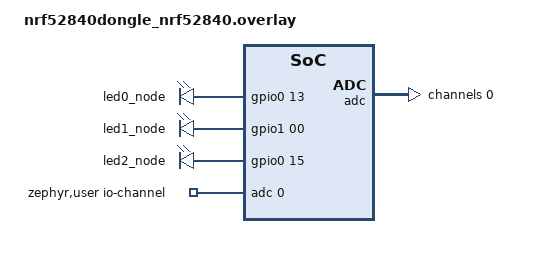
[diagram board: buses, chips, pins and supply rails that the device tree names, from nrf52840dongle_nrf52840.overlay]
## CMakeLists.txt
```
cmake_minimum_required(VERSION 3.20.0)
find_package(Zephyr REQUIRED HINTS $ENV{ZEPHYR_BASE})

project(Ciaran_Testing)

target_sources(app PRIVATE src/main.c)
```

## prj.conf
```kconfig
# Copied from 'digital_out' application, required to set led pins high and low
CONFIG_GPIO=y
CONFIG_LOG=y
CONFIG_LOG_DEFAULT_LEVEL=3


# Copied from 'analog_read_serial_out'
CONFIG_ADC=y
CONFIG_ADC_NRFX_SAADC=y

CONFIG_SERIAL=y
CONFIG_UART_CONSOLE=y
CONFIG_PRINTK=y
CONFIG_STDOUT_CONSOLE=y
```

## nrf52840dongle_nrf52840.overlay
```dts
// Copied from 'digital_out' application, configures the 3 LEDs (TODO - get high drive)
/ {
    // LED GPIO OUTPUT PINS SETUP
    aliases {
        led0 = &led0_node;
        led1 = &led1_node;
        led2 = &led2_node;
    };

    leds {
        compatible = "gpio-leds";

        // TODO - switch these to pins that support high drive

        led0_node: led0 {
            gpios = <&gpio0 13 GPIO_ACTIVE_HIGH>; //Green
        };

        led1_node: led1 {
            gpios = <&gpio1 00 GPIO_ACTIVE_HIGH>; //Red
        };

        led2_node: led2 {
            gpios = <&gpio0 15 GPIO_ACTIVE_HIGH>; //Infrared
        };
    };


    // NEEDED FOR INPUT PIN CONFIGURATION WITH ADC
    /* NOTE: this node name must be zephyr,user (comma!) */
    zephyr,user {
        io-channels = <&adc 0>;
    };
};

&adc {
    status = "okay";
    #address-cells = <1>;
    #size-cells = <0>;

    channel@0 {
        reg = <0>;
        zephyr,gain = "ADC_GAIN_1_5";
        zephyr,reference = "ADC_REF_INTERNAL";
        zephyr,acquisition-time = <ADC_ACQ_TIME_DEFAULT>;
        zephyr,resolution = <12>;
        zephyr,input-positive = <NRF_SAADC_AIN0>; /* P0.02 */
        
        //For differential measurement, use input-negative.
        //Note: this will change the adc range to 0-2000 for 0v - 3V
        //zephyr,input-negative = <NRF_SAADC_GND>;
    };
};
```

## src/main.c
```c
// Copied from 'digital_out' application
#include <zephyr/kernel.h>
#include <zephyr/device.h>
#include <zephyr/drivers/gpio.h>

// Copied from 'analog_read_serial_out' application
#include <zephyr/drivers/adc.h>
#include <zephyr/devicetree.h>
#include <zephyr/sys/printk.h>
#include <zephyr/sys/util.h>

//Required for high drive
#include <zephyr/dt-bindings/gpio/nordic-nrf-gpio.h>

// Imported stuff that Tadhg recommended for time stuff (not using)
// #include <stdio.h>
#include <zephyr/sys/clock.h> // sys_clock_hw_cycles_per_sec, sys_clock_gettime, SYS_CLOCK_MONOTONIC
#include <zephyr/posix/time.h> // struct timespec




// Initializing ADC stuff for analog input pin
#if !DT_NODE_EXISTS(DT_PATH(zephyr_user)) || \
    !DT_NODE_HAS_PROP(DT_PATH(zephyr_user), io_channels)
#error "No suitable devicetree overlay specified"
#endif

#define DT_SPEC_AND_COMMA(node_id, prop, idx) \
    ADC_DT_SPEC_GET_BY_IDX(node_id, idx),

static const struct adc_dt_spec adc_channels[] = {
    DT_FOREACH_PROP_ELEM(DT_PATH(zephyr_user), io_channels,
                         DT_SPEC_AND_COMMA)
};



// Initializing LED GPIO pin stuff
#define LED0_NODE DT_ALIAS(led0)
#define LED1_NODE DT_ALIAS(led1)
#define LED2_NODE DT_ALIAS(led2)

#if !DT_NODE_HAS_STATUS(LED0_NODE, okay) || \
    !DT_NODE_HAS_STATUS(LED1_NODE, okay) || \
    !DT_NODE_HAS_STATUS(LED2_NODE, okay)
#error "One or more LED aliases (led0/led1/led2) are not defined in the debietree"
#endif

static const struct gpio_dt_spec led0 = GPIO_DT_SPEC_GET(LED0_NODE, gpios); //Green
static const struct gpio_dt_spec led1 = GPIO_DT_SPEC_GET(LED1_NODE, gpios); //Red
static const struct gpio_dt_spec led2 = GPIO_DT_SPEC_GET(LED2_NODE, gpios); //Infrared



// Initializing Variables and Parameters that will be used for sampling
// NOTE: All 4 element arrays specify one value for each 'state'.
// Each sampling period goes over all 4 states of 0-GreenOn, 1-RedOn, 2-InfraredON, 3-AllOff

static const int stateDuration[4]  = {1000*1000, 1000*1000, 1000*1000, 1000*1000}; //us
static const int settlingDuration[4] = {1000*100, 1000*100, 1000*100, 1000*100}; //us




//SOME BASIC FUNCTIONS FOR SETTING THINGS UP

/** Initialize one LED. returns 0 if succeeded*/
static int init_led(const struct gpio_dt_spec *led)
{
    if (!device_is_ready(led->port)) {
        printf("MYERROR: GPIO Pin was not ready so not running code (specifically the port?)!!!\n");
        return -1;
    }
    return gpio_pin_configure_dt(led, GPIO_OUTPUT_INACTIVE | NRF_GPIO_DRIVE_H0H1);
}

/** Initialize the ADC. returns 0 if succeeded*/
static int init_adc() {
    for (size_t i = 0; i < ARRAY_SIZE(adc_channels); i++) {
        if (!adc_is_ready_dt(&adc_channels[i])) {
            printf("ADC %s not ready\n", adc_channels[i].dev->name);
            return -1;
        }

        int err = adc_channel_setup_dt(&adc_channels[i]);
        if (err) {
            printf("Channel setup failed (%d)\n", err);
            return -1;
        }
    }
    return 0;
}

static void turn_state_led_on(int curState)
{
    switch (curState) {
    case 0:
        // Turn on green LED
        gpio_pin_set_dt(&led0, 1);
        break;
    case 1:
        // Turn on Red LED
        gpio_pin_set_dt(&led1, 1);
        break;
    case 2:
        // Turn on IR LED
        gpio_pin_set_dt(&led2, 1);
        break;
    case 3:
        // Don't turn on any LED
        break;
    }
}

static void turn_prev_state_led_off(int curState)
{
    switch (curState) {
    case 0:
        // All LEDs were off before
        break;
    case 1:
        // Turn off Green LED
        gpio_pin_set_dt(&led0, 0);
        break;
    case 2:
        // Turn off Red LED
        gpio_pin_set_dt(&led1, 0);
        break;
    case 3:
        // Turn off IR LED
        gpio_pin_set_dt(&led2, 0);
        break;
    }
}

/**Reads one channel of the adc and returns the measurement in mV. Returns -1 if failed to take measurement. If only one adc then chan==0*/
static int32_t read_adc_chan(int chan) {
    int16_t sample;   // SIGNED buffer for reading adc values
    struct adc_sequence sequence = {
        .buffer = &sample,
        .buffer_size = sizeof(sample),
    };
    int32_t mv;

    adc_sequence_init_dt(&adc_channels[chan], &sequence);
    int err = adc_read_dt(&adc_channels[chan], &sequence);
    if (err) {
        printf("adc_read failed (%d)\n", err);
        return -1;
    }

    /* sample is already signed */
    mv = sample;

    if (adc_raw_to_millivolts_dt(&adc_channels[chan], &mv) == 0) {
        return mv;
    } else {
        printf("(mV unavailable)\n");
        return -1;
    }
}


// Thing Tadhg made for time
void print_clock_cycles_according_to_timespec(){
    struct timespec timestamp;
    int err =   sys_clock_gettime(SYS_CLOCK_MONOTONIC, &timestamp);
    if(err != 0){
        printf("COULD NOT GET MONOTONIC CLOCK %d\n", err);
        return;
    }
    double sec_frac = (double)timestamp.tv_sec + ((double)timestamp.tv_nsec)/1.0e9;
    double cycles = sec_frac * sys_clock_hw_cycles_per_sec();
    printf("Timstamp in cycles via sys_clock_gettime: %ld\n",(long int)(1.0e9*cycles));
}

int main(void)
{
    

    uint64_t stateStartTime[4]; //us
    uint64_t stateEndTime[4]; //us
    int32_t sampleBuffer[4][10]; //mV //NOTE: Only need this for initial tests while we want to see all measurements
    uint64_t sampleBufferTimestamps[4][10]; //us
    int samplesTaken[4];



    k_msleep(3000); // wait a minute for stuff to start. Otherwise I miss this print
    printf("Compiled %s at %s %s \n", __FILE__, __DATE__, __TIME__); //This is when *compiled* (helpful for knowing if you successfully uploaded newly compiled code)

    //Initial Setup Stuff
    if (init_led(&led0) != 0 || init_led(&led1) != 0 || init_led(&led2) != 0) {
        printf("MYERROR: GPIO Pin either was not ready or failed to configure so not running code!!!\n");
		k_msleep(1000*10); //Don't quit for 10s, so I can read serial error message
        return -1;
    }

    if (init_adc() != 0) {
        printf("MYERROR: Failed to initialize ADC. Quitting main loop\n");
        k_msleep(1000*10); //Don't quit for 10s, so I can read serial error message
        return -1;
    }

    while (1) {
        // for (int i=0 ; i<100000 ; i++) {
        //     k_usleep(100);
        // }
        printf("Cycles: %u\n", k_cycle_get_32());
        printf("Time: %u\n", k_cyc_to_us_near32(k_cycle_get_32()));
        printf("Conversion Rate: %u\n", sys_clock_hw_cycles_per_sec());
        k_msleep(1000);
        



        // for (int state=0; state<4; state++) {
        //     // Goes over every state. 0-GreenOn, 1-RedOn, 2-InfraredON, 3-AllOff
        //     // TODO - Get state start time

        //     // Make sure LEDs are in correct state
        //     printf("\nState %d\n", state);
        //     printf("Time: %u\n", k_cyc_to_us_near32(k_cycle_get_32()));
        //     printf("Cycles: %u\n", k_cycle_get_32());
        //     printf("Conversion Rate: %u\n", sys_clock_hw_cycles_per_sec());
        //     turn_prev_state_led_off(state);
        //     turn_state_led_on(state);
        //     stateStartTime[state] = k_cyc_to_us_near64(k_cycle_get_64());

            

            

        //     // Wait settling duration
        //     // k_usleep(settlingDuration[state]);


        //     // Take Measurements
        //     // (TODO - add timing and store timestamp. And add taking multiple samples and add buffer to store multiple samples)
            
        //     for (int i=0; i<10; i++) {
        //         // Take 10 samples   - TODO: will make more sophisticated soon
                
        //         sampleBuffer[state][i] = read_adc_chan(0);
        //         if (sampleBuffer[state][i] == -1) {
        //             printf("failed to read adc\n");
        //         }
        //         sampleBufferTimestamps[state][i] = k_cyc_to_us_near64(k_cycle_get_64());
                
        //         printf("mv=%d\n", sampleBuffer[state][i]);
        //         k_usleep(150); //Temporary for testing
        //     }
        //     k_usleep(stateDuration[state]);

            


        //     stateEndTime[state] = k_cyc_to_us_near64(k_cycle_get_64());
        // }

        // One sampling period happened, log all the data (print the buffer and the timestamps for things)
        // printf("\nNEW SAMPLE\n");
        // for (int state=0; state<4; state++) {
        //     printf("State:%d\n", state);
        //     printf("stateStartTime:%lld\n", stateStartTime[state]);
        //     printf("stateEndTime:%lld\n", stateEndTime[state]);
        //     // for (int sample=0; sample<samplesTaken[state]; sample++)
        // }
        


        // uint64_t stateStartTime[4]; //us
        // uint64_t stateEndTime[4]; //us
        // int32_t sampleBuffer[4][10]; //mV //NOTE: Only need this for initial tests while we want to see all measurements
        // uint64_t sampleBufferTimestamps[4][10]; //us

    }

    return 0;
}
```
